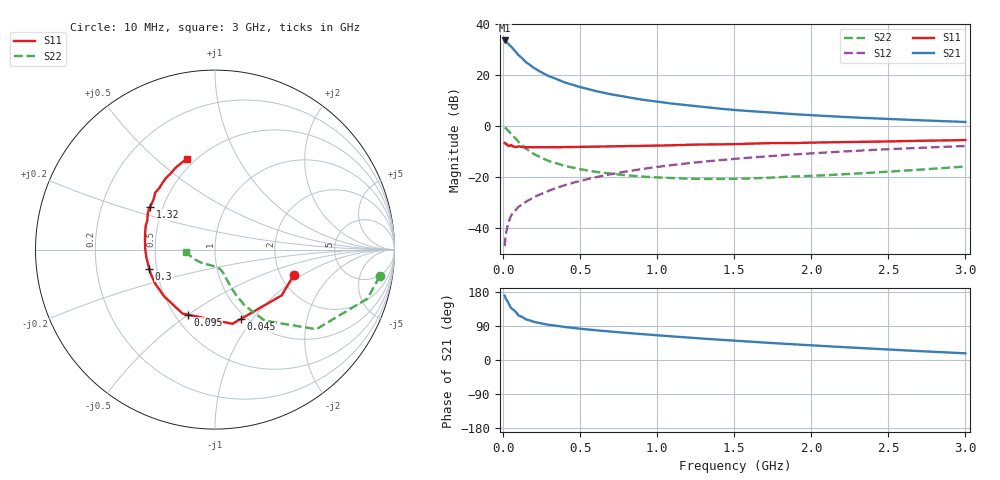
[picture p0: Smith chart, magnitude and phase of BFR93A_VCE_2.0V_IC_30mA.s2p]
! Infineon Technologies  Discrete & RF Semiconductors
! BFR93A
! VCE =  2.0 V,  IC =  30 mA
! Common Emitter S-Parameters:  Nov 2015
# GHz  S  MA  R  50
!  f  S11  S21  S12  S22
! GHz  MAG  ANG  MAG  ANG  MAG  ANG  MAG  ANG
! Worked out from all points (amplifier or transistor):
!   180 points, 10 MHz to 3 GHz, reference 50 ohm
!   highest |S21| = 33.7 dB at 10 MHz (marker M1)
!   |S21| within 3 dB of that: start of sweep to 61.28 MHz
!   unconditionally stable (mu >= 1): 323.6 MHz to end of sweep
!   at 160 MHz: K = 0.81, MSG = 27.0 dB, |S12| = -29.4 dB
!   at 1.22 GHz: K = 1.08, MAG = 9.5 dB, |S12| = -14.5 dB
!   at 3 GHz: K = 1.01, MAG = 4.1 dB, |S12| = -7.9 dB
!   S11 on the Smith chart (normalised r, x): 10 MHz: 2.35, -0.85; 45 MHz: 0.94, -0.87; 95 MHz: 0.58, -0.50; 300 MHz: 0.45, -0.11; 1.32 GHz: 0.42, +0.25; 3 GHz: 0.45, +0.63
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0.01  0.4612 -17.9  48.42 169.7  0.0043 83.1  0.9297 -9.2
0.02  0.4507 -34.5  46.42 160.3  0.008 76.6  0.8921 -17.8
0.045  0.4126 -69.8  38.42 142.3  0.0153 67.9  0.7401 -34.1
0.05  0.4247 -76.8  37.39 137.9  0.0168 67.1  0.7186 -38.1
0.095  0.3931 -112.9  25.97 120.5  0.0246 61.9  0.5048 -52.6
0.1  0.3996 -116.9  24.93 117.6  0.0255 61.5  0.484 -55.0
0.15  0.3849 -137.6  17.95 107.0  0.0324 62.7  0.3549 -61.9
0.2  0.383 -150.1  13.91 100.7  0.0394 65.0  0.281 -65.0
0.24  0.382 -157.0  11.82 97.1  0.0449 66.1  0.2437 -66.4
0.26  0.3821 -159.7  10.94 95.4  0.0477 66.6  0.2281 -67.0
0.3  0.3816 -163.9  9.516 92.6  0.0534 67.8  0.2031 -67.7
0.4  0.385 -173.9  7.204 87.0  0.0683 69.3  0.1633 -69.3
0.52  0.3897 177.8  5.644 81.7  0.0858 69.4  0.1382 -70.6
0.6  0.3921 173.3  4.889 78.5  0.0979 69.2  0.1254 -72.2
0.7  0.3977 169.0  4.212 74.8  0.1127 68.6  0.1151 -74.5
0.9  0.4086 160.8  3.313 68.4  0.1419 66.8  0.1009 -81.8
1.02  0.4122 156.1  2.954 64.6  0.1593 65.3  0.0967 -86.3
1.32  0.4336 146.8  2.331 55.8  0.201 61.5  0.0906 -101.6
1.52  0.441 141.2  2.045 50.5  0.2282 58.8  0.0913 -112.8
2.02  0.4725 128.5  1.621 38.3  0.2919 52.1  0.1049 -136.1
2.52  0.4992 117.6  1.364 27.3  0.3518 44.8  0.1272 -155.9
3  0.53 107.4  1.202 17.6  0.404 37.9  0.1597 -174.2
